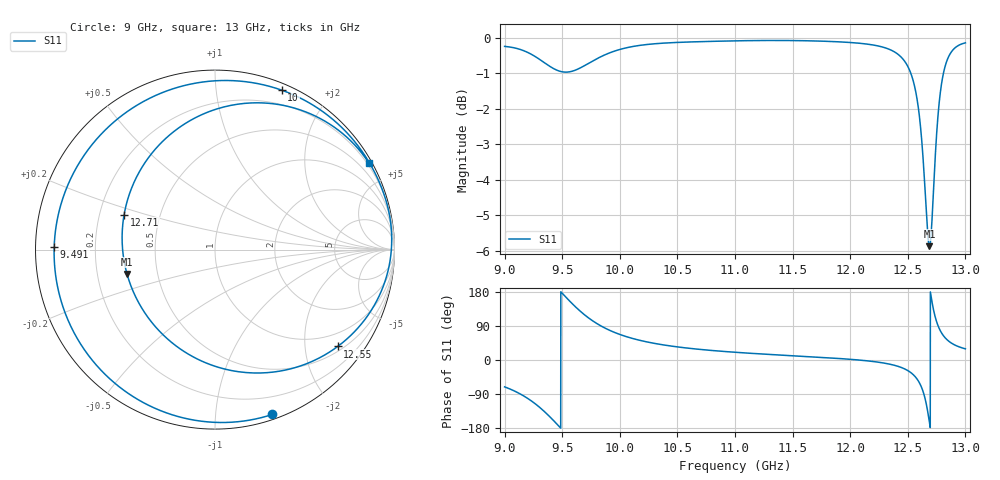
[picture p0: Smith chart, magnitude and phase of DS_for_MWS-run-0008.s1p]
! TOUCHSTONE file generated by CST DESIGN STUDIO
! Date and time: Tue Feb  4 14:29:08 2025
! Project name: C:\Work\MatlabApps\UnitCellOptimizationMatlab\CST\unitcell.cst
! Tree item: Tasks\Sweep1\SPara1\S-Parameters
! Header version: 2024
! Port assignment regex: !\s*Touchstone port\s*([0-9]+)\s*=\s*(CST MWS port|CST DES external port|CST DES block port)\s*(.+)\s* \(\"(.*)\"\)(\s*mode\s*([0-9]+))?.*
! Touchstone port assignment:
! Touchstone port 1 = CST DES external port 1 ("")
# GHz S MA R 50
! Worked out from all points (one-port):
!   4001 points, 9 GHz to 13 GHz, reference 50 ohm
!   lowest |S11| = -5.9 dB at 12.69 GHz (marker M1), VSWR 3.07, Z = 16.6 - j6.06 ohm
!   |S11| at or under -10 dB: nowhere
!   S11 on the Smith chart (normalised r, x): 9 GHz: 0.04, -1.40; 9.491 GHz: 0.05, +0.01; 10 GHz: 0.06, +1.50; 12.55 GHz: 0.62, -2.76; 12.71 GHz: 0.31, +0.17; 13 GHz: 0.13, +3.80
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9  0.9724 -70.9
9.156  0.9602 -93.1
9.268  0.9404 -116.0
9.396  0.9107 -150.8
9.491  0.8961 179.0
9.5  0.8954 176.1
9.615  0.9004 140.4
9.718  0.9182 113.5
9.836  0.9405 89.9
10  0.9628 67.4
10.001  0.9629 67.3
10.215  0.9775 49.0
10.5  0.985 34.6
11  0.99 20.4
11.5  0.991 11.2
12  0.9848 1.8
12.311  0.967 -9.1
12.5  0.9113 -27.9
12.546  0.8709 -38.3
12.592  0.7959 -55.6
12.634  0.6713 -84.4
12.661  0.5668 -116.7
12.688  0.5087 -164.5
12.707  0.5426 159.0
12.743  0.7011 108.1
12.781  0.8337 78.0
12.865  0.9477 47.4
13  0.9836 29.5
